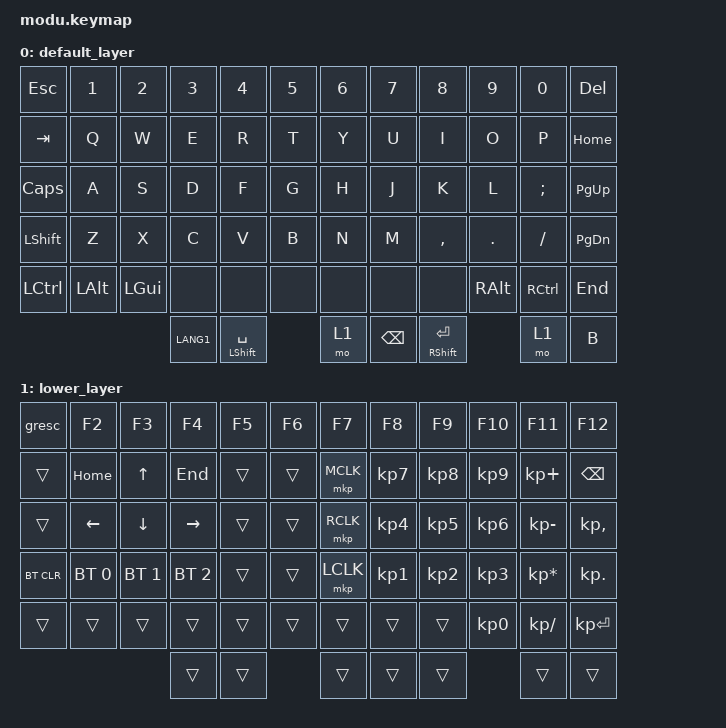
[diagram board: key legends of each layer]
/*
 * Copyright (c) 2026 EKS Inc.
 * Created by Ryu.
 * SPDX-License-Identifier: LicenseRef-EKS-NonCommercial-1.0
 */

#include <behaviors.dtsi>
#include <dt-bindings/zmk/keys.h>
#include <dt-bindings/zmk/bt.h>
#include <dt-bindings/zmk/pointing.h>

/ {
    behaviors {
        ht_sft: hold_tap_shift {
            compatible = "zmk,behavior-hold-tap";
            #binding-cells = <2>;
            flavor = "hold-preferred";
            tapping-term-ms = <170>;
            bindings = <&kp>, <&kp>;
        };
    };

    keymap {
        compatible = "zmk,keymap";

        default_layer {
// -----------------------------------------------------------------
// |ESC | 1  | 2  | 3  | 4  | 5  |   | 6  | 7  | 8  | 9  | 0  |DEL |
// |TAB | Q  | W  | E  | R  | T  |   | Y  | U  | I  | O  | P  |HOME|
// |CAPS| A  | S  | D  | F  | G  |   | H  | J  | K  | L  | ;  |PGUP|
// |LSFT| Z  | X  | C  | V  | B  |   | N  | M  | ,  | .  | /  |PGDN|
// |LCTRL|LALT|LGUI|                                 |RALT|RCTL|END |
//                |MO1 |LANG|SPC |   |BSPC|RET |MO1 | B  |
            bindings = <
&kp ESC   &kp N1   &kp N2    &kp N3    &kp N4    &kp N5      &kp N6    &kp N7    &kp N8    &kp N9    &kp N0    &kp DEL
&kp TAB   &kp Q    &kp W     &kp E     &kp R     &kp T       &kp Y     &kp U     &kp I     &kp O     &kp P     &kp HOME
&kp CAPS  &kp A    &kp S     &kp D     &kp F     &kp G       &kp H     &kp J     &kp K     &kp L     &kp SEMI  &kp PG_UP
&kp LSHFT &kp Z    &kp X     &kp C     &kp V     &kp B       &kp N     &kp M     &kp COMMA &kp DOT   &kp FSLH  &kp PG_DN
&kp LCTRL &kp LALT &kp LGUI  &none     &none     &none       &none     &none     &none     &kp RALT  &kp RCTRL &kp END
                             &kp LANG1 &ht_sft LSHIFT SPACE &mo 1       &kp BSPC  &ht_sft RSHIFT RET  &mo 1     &kp B
            >;
        };

        lower_layer {
            bindings = <
&gresc     &kp F2       &kp F3       &kp F4       &kp F5     &kp F6       &kp F7        &kp F8       &kp F9       &kp F10      &kp F11             &kp F12
&trans     &kp HOME     &kp UP       &kp END      &trans     &trans       &mkp MCLK     &kp KP_N7    &kp KP_N8    &kp KP_N9    &kp KP_PLUS         &kp BSPC
&trans     &kp LEFT     &kp DOWN     &kp RIGHT    &trans     &trans       &mkp RCLK     &kp KP_N4    &kp KP_N5    &kp KP_N6    &kp KP_MINUS        &kp KP_COMMA
&bt BT_CLR &bt BT_SEL 0 &bt BT_SEL 1 &bt BT_SEL 2 &trans     &trans       &mkp LCLK     &kp KP_N1    &kp KP_N2    &kp KP_N3    &kp KP_MULTIPLY     &kp KP_DOT
&trans     &trans       &trans       &trans       &trans     &trans       &trans        &trans       &trans       &kp KP_N0    &kp KP_DIVIDE       &kp KP_ENTER
                                     &trans       &trans     &trans       &trans        &trans       &trans       &trans
            >;
        };
    };
};
